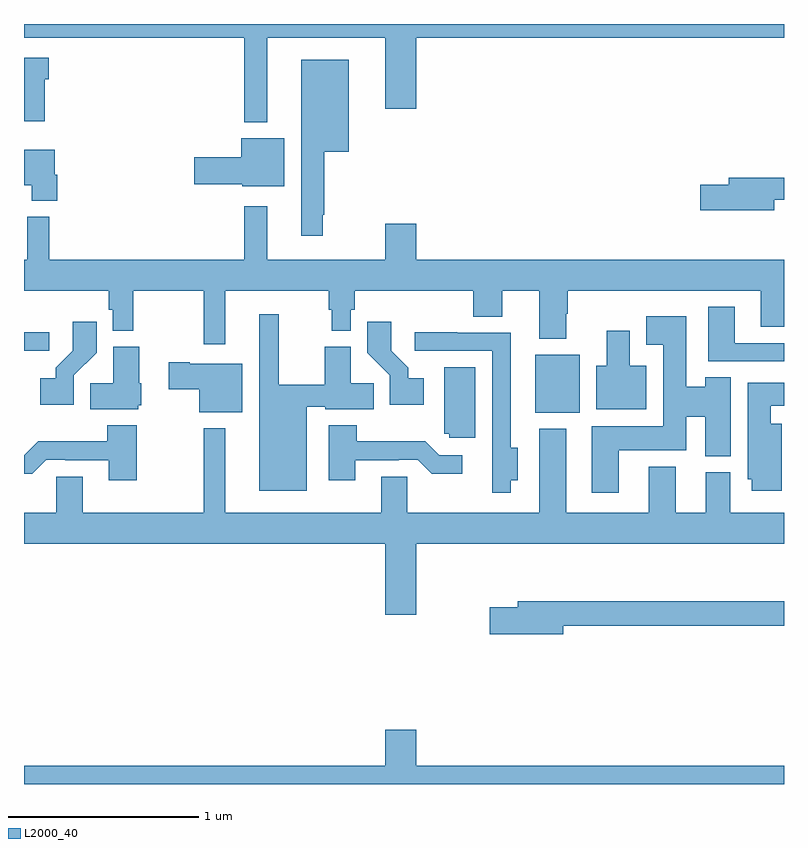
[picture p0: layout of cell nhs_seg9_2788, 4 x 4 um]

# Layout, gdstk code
import gdstk
lib = gdstk.Library(unit=1e-6, precision=1e-09)
def R(c, l, rs):  # rectangles x0, y0, x1, y1
    for r in rs: c.add(gdstk.rectangle(r[:2], r[2:], *l))
def P(c, l, *ps):  # polygons
    for p in ps: c.add(gdstk.Polygon(p, *l))
L2000_40 = (2000, 40)

nhs_seg9_2788 = lib.new_cell('nhs_seg9_2788')
R(nhs_seg9_2788, L2000_40, [(273.692,1186.454,273.925,1186.759), (271,1186.779,271.132,1186.878)])
P(nhs_seg9_2788, L2000_40, [(272.281,1188.428),(272.9,1188.428),(272.9,1188.054),(273.064,1188.054),(273.064,1188.428),(275,1188.428),(275,1188.5),(271,1188.5),(271,1188.428),(272.16,1188.428),(272.16,1187.984),(272.281,1187.984)],
  [(271.11,1188.209),(271.13,1188.209),(271.13,1188.322),(271.002,1188.322),(271.002,1188.256),(271,1188.256),(271,1187.987),(271.11,1187.987)],
  [(272.573,1187.497),(272.581,1187.497),(272.581,1187.828),(272.71,1187.828),(272.71,1188.313),(272.459,1188.313),(272.459,1187.385),(272.573,1187.385)],
  [(272.371,1187.899),(272.144,1187.899),(272.144,1187.798),(271.896,1187.798),(271.896,1187.656),(272.148,1187.656),(272.148,1187.645),(272.371,1187.645)],
  [(271.175,1187.706),(271.162,1187.706),(271.162,1187.839),(271,1187.839),(271,1187.651),(271.04,1187.651),(271.04,1187.57),(271.175,1187.57)],
  [(274.948,1187.574),(275,1187.574),(275,1187.69),(274.709,1187.69),(274.709,1187.654),(274.56,1187.654),(274.56,1187.519),(274.948,1187.519)],
  [(272.059,1187.096),(272.605,1187.096),(272.605,1186.995),(272.62,1186.995),(272.62,1186.886),(272.721,1186.886),(272.721,1186.995),(272.741,1186.995),(272.741,1187.096),(273.365,1187.096),(273.365,1186.96),(273.517,1186.96),(273.517,1187.096),(273.713,1187.096),(273.713,1186.844),(273.853,1186.844),(273.853,1186.976),(273.861,1186.976),(273.861,1187.096),(274.877,1187.096),(274.877,1186.906),(275,1186.906),(275,1187.26),(273.064,1187.26),(273.064,1187.449),(272.9,1187.449),(272.9,1187.26),(272.281,1187.26),(272.281,1187.542),(272.16,1187.542),(272.16,1187.26),(271.133,1187.26),(271.133,1187.485),(271.016,1187.485),(271.016,1187.26),(271,1187.26),(271,1187.096),(271.447,1187.096),(271.447,1186.995),(271.467,1186.995),(271.467,1186.886),(271.576,1186.886),(271.576,1187.096),(271.945,1187.096),(271.945,1186.815),(272.059,1186.815)],
  [(275,1186.821),(274.741,1186.821),(274.741,1187.011),(274.601,1187.011),(274.601,1186.725),(275,1186.725)],
  [(272.488,1186.485),(272.586,1186.485),(272.586,1186.472),(272.84,1186.472),(272.84,1186.61),(272.719,1186.61),(272.719,1186.801),(272.582,1186.801),(272.582,1186.601),(272.341,1186.601),(272.341,1186.972),(272.237,1186.972),(272.237,1186.043),(272.488,1186.043)],
  [(274.129,1186.256),(274.486,1186.256),(274.486,1186.433),(274.586,1186.433),(274.586,1186.225),(274.72,1186.225),(274.72,1186.64),(274.586,1186.64),(274.586,1186.591),(274.486,1186.591),(274.486,1186.963),(274.274,1186.963),(274.274,1186.811),(274.364,1186.811),(274.364,1186.384),(273.989,1186.384),(273.989,1186.032),(274.129,1186.032)],
  [(271.263,1186.651),(271.382,1186.77),(271.382,1186.933),(271.257,1186.933),(271.257,1186.781),(271.166,1186.691),(271.166,1186.636),(271.086,1186.636),(271.086,1186.496),(271.263,1186.496)],
  [(273.103,1186.636),(273.022,1186.636),(273.022,1186.691),(272.932,1186.781),(272.932,1186.933),(272.806,1186.933),(272.806,1186.77),(272.925,1186.651),(272.925,1186.496),(273.103,1186.496)],
  [(274.276,1186.702),(274.189,1186.702),(274.189,1186.885),(274.067,1186.885),(274.067,1186.702),(274.013,1186.702),(274.013,1186.472),(274.276,1186.472)],
  [(273.562,1186.1),(273.598,1186.1),(273.598,1186.271),(273.562,1186.271),(273.562,1186.875),(273.281,1186.875),(273.281,1186.878),(273.057,1186.878),(273.057,1186.779),(273.465,1186.779),(273.465,1186.254),(273.464,1186.254),(273.464,1186.032),(273.562,1186.032)],
  [(271.602,1186.494),(271.618,1186.494),(271.618,1186.608),(271.606,1186.608),(271.606,1186.801),(271.469,1186.801),(271.469,1186.61),(271.348,1186.61),(271.348,1186.472),(271.602,1186.472)],
  [(272.149,1186.711),(271.873,1186.711),(271.873,1186.719),(271.761,1186.719),(271.761,1186.577),(271.922,1186.577),(271.922,1186.457),(272.149,1186.457)],
  [(273.376,1186.693),(273.212,1186.693),(273.212,1186.344),(273.237,1186.344),(273.237,1186.323),(273.376,1186.323)],
  [(274.987,1186.396),(274.93,1186.396),(274.93,1186.49),(275,1186.49),(275,1186.612),(274.808,1186.612),(274.808,1186.104),(274.829,1186.104),(274.829,1186.044),(274.987,1186.044)],
  [(271.593,1186.387),(271.438,1186.387),(271.438,1186.303),(271.075,1186.303),(271.002,1186.23),(271,1186.23),(271,1186.133),(271.043,1186.133),(271.116,1186.206),(271.216,1186.206),(271.216,1186.203),(271.445,1186.203),(271.445,1186.098),(271.593,1186.098)],
  [(272.743,1186.203),(272.972,1186.203),(272.972,1186.206),(273.072,1186.206),(273.145,1186.133),(273.307,1186.133),(273.307,1186.23),(273.186,1186.23),(273.113,1186.303),(272.751,1186.303),(272.751,1186.387),(272.603,1186.387),(272.603,1186.098),(272.743,1186.098)],
  [(273.064,1185.764),(275,1185.764),(275,1185.928),(274.717,1185.928),(274.717,1186.14),(274.589,1186.14),(274.589,1185.928),(274.429,1185.928),(274.429,1186.171),(274.289,1186.171),(274.289,1185.928),(273.853,1185.928),(273.853,1186.369),(273.713,1186.369),(273.713,1185.928),(273.018,1185.928),(273.018,1186.118),(272.879,1186.118),(272.879,1185.928),(272.059,1185.928),(272.059,1186.372),(271.945,1186.372),(271.945,1185.928),(271.309,1185.928),(271.309,1186.118),(271.17,1186.118),(271.17,1185.928),(271,1185.928),(271,1185.764),(272.9,1185.764),(272.9,1185.39),(273.064,1185.39)],
  [(273.838,1185.334),(275,1185.334),(275,1185.463),(273.599,1185.463),(273.599,1185.429),(273.45,1185.429),(273.45,1185.287),(273.838,1185.287)],
  [(275,1184.596),(273.064,1184.596),(273.064,1184.785),(272.9,1184.785),(272.9,1184.596),(271,1184.596),(271,1184.5),(275,1184.5)])

lib.write_gds('nhs_seg9_2788.gds')
